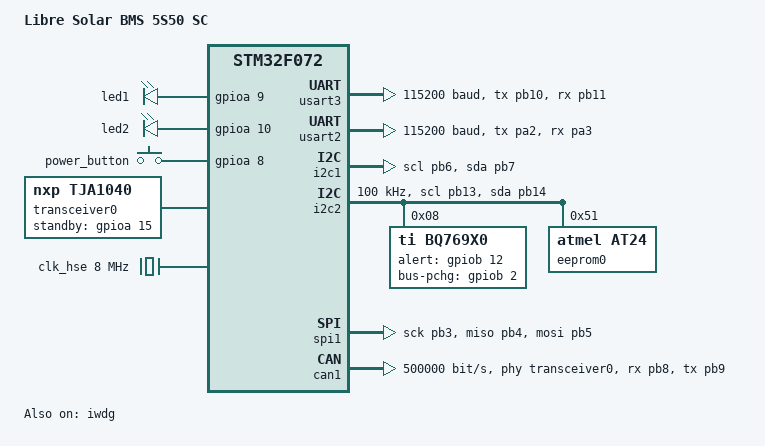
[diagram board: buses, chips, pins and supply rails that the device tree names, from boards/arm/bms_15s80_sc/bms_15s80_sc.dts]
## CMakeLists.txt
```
# Copyright (c) 2021 Nordic Semiconductor ASA
# SPDX-License-Identifier: Apache-2.0
#
# This CMake file is picked by the Zephyr build system because it is defined
# as the module CMake entry point (see zephyr/module.yml).

zephyr_include_directories(include)

add_subdirectory(drivers)
```

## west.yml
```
# SPDX-License-Identifier: Apache-2.0

manifest:
  remotes:
    - name: zephyrproject
      url-base: https://github.com/zephyrproject-rtos
    - name: libresolar
      url-base: https://github.com/LibreSolar
    - name: thingset
      url-base: https://github.com/ThingSet
    - name: throwtheswitch
      url-base: https://github.com/ThrowTheSwitch
  projects:
    - name: zephyr
      remote: zephyrproject
      revision: v4.5-branch
      import:
        name-allowlist:
          - cmsis_6
          - edtt
          - hal_espressif
          - hal_stm32
          - mbedtls
          - mcuboot
          - tf-psa-crypto
          - tinycrypt
          - zcbor
    - name: thingset-zephyr-sdk
      remote: thingset
      revision: d43beb494feaa938655b8768a2f77a943c17c98e
      path: thingset-zephyr-sdk
      import:
        name-allowlist:
          - thingset-node-c
          - zcbor
```

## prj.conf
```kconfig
# direct printf calls to console
CONFIG_STDOUT_CONSOLE=y

CONFIG_HEAP_MEM_POOL_SIZE=16384

CONFIG_GPIO=y
CONFIG_SERIAL=y
CONFIG_I2C=y

# for OLED display
CONFIG_DISPLAY=y
CONFIG_SSD1306=y
#CONFIG_CHARACTER_FRAMEBUFFER=y

CONFIG_LOG=y

CONFIG_CFB_LOG_LEVEL_DBG=y
CONFIG_CHARACTER_FRAMEBUFFER=y

CONFIG_NEWLIB_LIBC_NANO=y
```

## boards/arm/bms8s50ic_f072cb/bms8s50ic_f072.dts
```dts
/*
 * SPDX-License-Identifier: Apache-2.0
 *
 * Copyright (c) 2020 Martin Jäger / Libre Solar
 */

/dts-v1/;
#include <st/f0/stm32f072Xb.dtsi>

/ {
	model = "Libre Solar BMS 8S50 IC";
	compatible = "st,stm32f072";

	chosen {
		zephyr,console = &usart1;
		zephyr,shell-uart = &usart1;
		zephyr,sram = &sram0;
		zephyr,flash = &flash0;
	};

	leds {
		compatible = "gpio-leds";
		led1: led_0 {
			gpios = <&gpiob 14 GPIO_INT_ACTIVE_HIGH>;
			label = "LED 1";
		};
		led2: led_1 {
			gpios = <&gpiob 15 GPIO_INT_ACTIVE_HIGH>;
			label = "LED 2";
		};
		/* TODO: put to GPIOs or similar */
		i2c_pu: pb_2 {
			gpios = <&gpiob 2 GPIO_INT_ACTIVE_HIGH>;
			label = "I2C Pull-Up";
		};
	};

	gpio_keys {
		compatible = "gpio-keys";
		power_button: button {
			label = "Power Button";
			gpios = <&gpioa 8 GPIO_INT_ACTIVE_LOW>;
		};
	};

	aliases {
		led-red = &led1;
		led-green = &led2;
		i2c-pullup = &i2c_pu;
		sw-pwr = &power_button;
	};
};

&usart1 {
	current-speed = <115200>;
	status = "okay";
};

&usart2 {
	current-speed = <115200>;
	status = "okay";
};

&i2c1 {
	status = "okay";

	ssd1306@3c {
		compatible = "solomon,ssd1306fb";
		reg = <0x3c>;
		label = "SSD1306";
		width = <128>;
		height = <64>;
		segment-offset = <0>;
		page-offset = <0>;
		display-offset = <0>;
		multiplex-ratio = <63>;
		segment-remap;
		com-invdir;
		prechargep = <0x22>;
	};
};

&i2c2 {
	status = "okay";
	clock-frequency = <I2C_BITRATE_STANDARD>;
};

&spi1 {
	status = "okay";
};

&iwdg {
	status = "okay";
};

&adc1 {
	status = "okay";
};

&can1 {
	bus-speed = <250000>;
	status = "okay";
};
```

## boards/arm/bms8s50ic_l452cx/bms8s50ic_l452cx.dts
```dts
/*
 * Copyright (c) 2017 Linaro Limited
 *
 * SPDX-License-Identifier: Apache-2.0
 */

/dts-v1/;
#include <st/l4/stm32l452Xc.dtsi>

/ {
	model = "Libre Solar BMS 8S50 IC";
	compatible = "st,stm32l452re-nucleo", "st,stm32l452";

	chosen {
		zephyr,console = &usart1;
		zephyr,shell-uart = &usart1;
		zephyr,sram = &sram0;
		zephyr,flash = &flash0;
	};

	leds {
		compatible = "gpio-leds";
		led1: led_0 {
			gpios = <&gpiob 14 GPIO_INT_ACTIVE_HIGH>;
			label = "LED 1";
		};
		led2: led_1 {
			gpios = <&gpiob 15 GPIO_INT_ACTIVE_HIGH>;
			label = "LED 2";
		};
		/* TODO: put to GPIOs or similar */
		i2c_pu: pb_2 {
			gpios = <&gpiob 2 GPIO_INT_ACTIVE_HIGH>;
			label = "I2C Pull-Up";
		};
	};

	gpio_keys {
		compatible = "gpio-keys";
		power_button: button {
			label = "Power Button";
			gpios = <&gpioa 8 GPIO_INT_ACTIVE_LOW>;
		};
	};

	aliases {
		led-red = &led1;
		led-green = &led2;
		i2c-pullup = &i2c_pu;
		sw-pwr = &power_button;
		i2c-uext = &i2c1;
	};
};

&usart1 {
	current-speed = <115200>;
	status = "okay";
};

&usart2 {
	current-speed = <115200>;
	status = "okay";
};

&i2c1 {
	status = "okay";
};

&i2c2 {
	status = "okay";
	clock-frequency = <I2C_BITRATE_STANDARD>;
};

&spi1 {
	status = "okay";
};

&timers2 {
	status = "okay";

	pwm {
		status = "okay";
	};
};

&can1 {
	bus-speed = <125000>;
	status = "okay";
};

&rtc {
	status = "okay";
};

&flash0 {
	partitions {
		compatible = "fixed-partitions";
		#address-cells = <1>;
		#size-cells = <1>;

		/*
		 * Reserve the final 16 KiB for file system partition
		 */
		storage_partition: partition@3c000 {
			label = "storage";
			reg = <0x0003c000 0x00004000>;
		};
	};
};
```

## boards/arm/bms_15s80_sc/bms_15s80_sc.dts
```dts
/*
 * Copyright (c) The Libre Solar Project Contributors
 *
 * SPDX-License-Identifier: Apache-2.0
 */

/dts-v1/;
#include <st/f0/stm32f072Xb.dtsi>
#include <st/f0/stm32f072c(8-b)tx-pinctrl.dtsi>

/ {
	model = "Libre Solar BMS 5S50 SC";
	compatible = "st,stm32f072";

	pcb {
		compatible = "bms";

		type = "BMS 15S80 SC";
		version-str = "v0.1";
		version-num = <1>;

		/*
		 * Additional information:
		 * - GAIN_PACK_VOLTAGE (105.6/5.6)
		 * - PIN_V_BAT    PA_4
		 * - PIN_V_EXT    PA_5
		 */
	};

	chosen {
		zephyr,console = &usart3;
		zephyr,shell-uart = &usart3;
		zephyr,sram = &sram0;
		zephyr,flash = &flash0;
		thingset,can = &can1;
		thingset,eeprom = &eeprom0;
		thingset,serial = &uext_uart;
	};

	leds {
		compatible = "gpio-leds";
		led1: led_0 {
			gpios = <&gpioa 9 GPIO_ACTIVE_HIGH>;
		};
		led2: led_1 {
			gpios = <&gpioa 10 GPIO_ACTIVE_HIGH>;
		};
	};

	gpio_keys {
		compatible = "gpio-keys";
		power_button: button {
			gpios = <&gpioa 8 GPIO_ACTIVE_HIGH>;
		};
	};

	transceiver0: can-phy0 {
		compatible = "nxp,tja1040", "can-transceiver-gpio";
		max-bitrate = <1000000>;
		standby-gpios = <&gpioa 15 GPIO_ACTIVE_HIGH>;
		#phy-cells = <0>;
	};

	aliases {
		led-red = &led1;
		led-green = &led2;
		sw-pwr = &power_button;
		bms-ic = &bq769x0;
	};

	soc {
		usart3: serial@40004800 {
			compatible = "st,stm32-usart", "st,stm32-uart";
			reg = <0x40004800 0x400>;
			clocks = <&rcc STM32_CLOCK_BUS_APB1 0x00040000>;
			interrupts = <29 0>;
			status = "disabled";
		};
		usart4: serial@40004c00 {
			compatible = "st,stm32-usart", "st,stm32-uart";
			reg = <0x40004c00 0x400>;
			clocks = <&rcc STM32_CLOCK_BUS_APB1 0x00080000>;
			interrupts = <29 0>;
			status = "disabled";
		};
	};
};

&clk_hse {
	clock-frequency = <DT_FREQ_M(8)>;
	status = "okay";
};

&pll {
	clocks = <&clk_hse>;
	prediv = <1>;
	mul = <6>;
	status = "okay";
};

&rcc {
	clocks = <&pll>;
	clock-frequency = <DT_FREQ_M(48)>;
	ahb-prescaler = <1>;
	apb1-prescaler = <1>;
};

uext_uart: &usart2 {
	pinctrl-0 = <&usart2_tx_pa2 &usart2_rx_pa3>;
	pinctrl-names = "default";
	current-speed = <115200>;
	status = "okay";
};

&usart2_rx_pa3 {
	bias-pull-up;	// avoid junk characters if pin is left floating
};

&usart3 {
	pinctrl-0 = <&usart3_tx_pb10 &usart3_rx_pb11>;
	pinctrl-names = "default";
	current-speed = <115200>;
	status = "okay";
};

&usart3_rx_pb11 {
	bias-pull-up;	// avoid junk characters if pin is left floating
};

uext_i2c: &i2c1 {
	pinctrl-0 = <&i2c1_scl_pb6 &i2c1_sda_pb7>;
	pinctrl-names = "default";
	status = "okay";
};

&i2c2 {
	pinctrl-0 = <&i2c2_scl_pb13 &i2c2_sda_pb14>;
	pinctrl-names = "default";
	clock-frequency = <I2C_BITRATE_STANDARD>;
	status = "okay";

	bq769x0: bq769x0@8 {
		compatible = "ti,bq769x0";
		reg = <0x08>;
		alert-gpios = <&gpiob 12 GPIO_ACTIVE_HIGH>;
		bus-pchg-gpios = <&gpiob 2 GPIO_ACTIVE_HIGH>;
		board-max-current = <80>;
		shunt-resistor-uohm = <1500>;
		used-cell-channels = <0x7FFF>;
	};

	eeprom0: eeprom@51 {
		// M24256-BW
		compatible = "atmel,at24";
		reg = <0x51>;	// 1 0 1 0 A2 A1 A0 = 1010001
		size = <32768>;
		pagesize = <64>;
		address-width = <16>;
		timeout = <7>;
	};
};

&spi1 {
	pinctrl-0 = <&spi1_sck_pb3 &spi1_miso_pb4 &spi1_mosi_pb5>;
	pinctrl-names = "default";
	cs-gpios = <&gpioa 1 GPIO_ACTIVE_LOW>;
	status = "okay";
};

&iwdg {
	status = "okay";
};

&can1 {
	pinctrl-0 = <&can_rx_pb8 &can_tx_pb9>;
	pinctrl-names = "default";
	bus-speed = <500000>;
	phys = <&transceiver0>;
	status = "okay";
};
```

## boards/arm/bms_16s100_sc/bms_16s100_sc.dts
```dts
/*
 * Copyright (c) The Libre Solar Project Contributors
 *
 * SPDX-License-Identifier: Apache-2.0
 */

/dts-v1/;
#include <st/g0/stm32g0b1Xe.dtsi>
#include <st/g0/stm32g0b1c(b-c-e)tx-pinctrl.dtsi>

#include <dt-bindings/bms_ic/bq769x2.h>

/ {
	model = "Libre Solar BMS 16S100 IC";
	compatible = "st,stm32g0b1";

	pcb {
		compatible = "bms";

		type = "BMS 16S100 SC";
		version-str = "v0.2";
		version-num = <2>;
	};

	chosen {
		zephyr,console = &usart1;
		zephyr,shell-uart = &usart1;
		zephyr,sram = &sram0;
		zephyr,flash = &flash0;
		zephyr,code-partition = &slot0_partition;
		thingset,can = &fdcan1;
		thingset,serial = &uext_uart;
	};

	leds {
		compatible = "gpio-leds";
		led1: led_0 {
			//gpios = <&gpioa 5 GPIO_ACTIVE_HIGH>;	// Nucleo board
			gpios = <&gpioc 13 GPIO_ACTIVE_HIGH>;	// actual BMS board
		};
		led2: led_1 {
			gpios = <&gpioc 14 GPIO_ACTIVE_HIGH>;
		};
	};

	gpio_keys {
		compatible = "gpio-keys";
		power_button: button {
			gpios = <&gpioa 1 GPIO_ACTIVE_HIGH>;
		};
	};

	transceiver0: can-phy0 {
		compatible = "nxp,tja1042", "can-transceiver-gpio";
		max-bitrate = <1000000>;
		standby-gpios = <&gpiod 2 GPIO_ACTIVE_HIGH>;
		#phy-cells = <0>;
	};

	aliases {
		led-red = &led1;
		led-green = &led2;
		sw-pwr = &power_button;
		bms-ic = &bq76952;
	};
};

&clk_hse {
	clock-frequency = <DT_FREQ_M(8)>;
	status = "okay";
};

&pll {
	div-m = <1>;
	mul-n = <16>;
	div-p = <2>;
	div-q = <2>;
	div-r = <2>;
	clocks = <&clk_hse>;
	status = "okay";
};

&rcc {
	clocks = <&pll>;
	clock-frequency = <DT_FREQ_M(64)>;
	ahb-prescaler = <1>;
	apb1-prescaler = <1>;
};

zephyr_udc0: &usb {
	pinctrl-0 = <&usb_dm_pa11 &usb_dp_pa12>;
	pinctrl-names = "default";
	status = "okay";
};

&usart1 {
	pinctrl-0 = <&usart1_tx_pa9 &usart1_rx_pa10>;
	pinctrl-names = "default";
	current-speed = <115200>;
	status = "okay";
};

&usart1_rx_pa10 {
	bias-pull-up;	// avoid junk characters if pin is left floating
};

uext_uart: &usart2 {
	pinctrl-0 = <&usart2_tx_pa2 &usart2_rx_pa3>;
	pinctrl-names = "default";
	current-speed = <115200>;
	status = "okay";
};

&usart2_rx_pa3 {
	bias-pull-up;	// avoid junk characters if pin is left floating
};

&iwdg {
	status = "okay";
};

uext_i2c: &i2c1 {
	pinctrl-0 = <&i2c1_scl_pb6 &i2c1_sda_pb7>;
	pinctrl-names = "default";
	clock-frequency = <I2C_BITRATE_FAST>;
	status = "okay";
};

&i2c2 {
	pinctrl-0 = <&i2c2_scl_pb13 &i2c2_sda_pb14>;
	pinctrl-names = "default";
	clock-frequency = <I2C_BITRATE_STANDARD>;
	status = "okay";

	bq76952: bq769x2@8 {
		compatible = "ti,bq769x2-i2c";
		reg = <0x08>;
		alert-gpios = <&gpiob 8 GPIO_ACTIVE_HIGH>;
		used-cell-channels = <0xFFFF>;
		/* all NTCs configured with 18k pull-up */
		ts1-pin-config = <0x07>;
		ts3-pin-config = <0x07>;
		dchg-pin-config = <0x07>;
		cell-temp-pins = <BQ769X2_PIN_TS1 BQ769X2_PIN_TS3>;
		fet-temp-pin = <BQ769X2_PIN_DCHG>;
		board-max-current = <100>;
		shunt-resistor-uohm = <300>;
		status = "okay";
	};
};

&spi1 {
	pinctrl-0 = <&spi1_nss_pb0 &spi1_sck_pb3
		     &spi1_miso_pb4 &spi1_mosi_pb5>;
	pinctrl-names = "default";
	status = "okay";
};

&spi2 {
	pinctrl-0 = <&spi2_nss_pb12 &spi2_sck_pb13
		     &spi2_miso_pb14 &spi2_mosi_pb15>;
	pinctrl-names = "default";
	status = "okay";
};

&flash0 {
	partitions {
		compatible = "fixed-partitions";
		#address-cells = <1>;
		#size-cells = <1>;

		boot_partition: partition@0 {
			label = "mcuboot";
			reg = <0x00000000 0x0000C000>;
			read-only;
		};
		slot0_partition: partition@C000 {
			label = "image-0";
			reg = <0x0000C000 0x00032000>;
		};
		slot1_partition: partition@3E000 {
			label = "image-1";
			reg = <0x0003E000 0x00032000>;
		};
		/* final 64KiB reserved for app storage partition */
		storage_partition: partition@70000 {
			label = "storage";
			reg = <0x00070000 0x00010000>;
		};
	};
};

&lptim1 {
	status = "okay";
};

&fdcan1 {
	clocks = <&rcc STM32_CLOCK_BUS_APB1 0x00001000>,
		 <&rcc STM32_SRC_PLL_Q FDCAN_SEL(1)>;
	pinctrl-0 = <&fdcan1_rx_pd0 &fdcan1_tx_pd1>;
	pinctrl-names = "default";
	bus-speed = <500000>;
	bus-speed-data = <500000>;
	sample-point = <875>;
	sample-point-data = <875>;
	phys = <&transceiver0>;
	status = "okay";
};
```

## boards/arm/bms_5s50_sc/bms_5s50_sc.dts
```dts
/*
 * Copyright (c) The Libre Solar Project Contributors
 *
 * SPDX-License-Identifier: Apache-2.0
 */

/dts-v1/;
#include <st/f0/stm32f072Xb.dtsi>
#include <st/f0/stm32f072c(8-b)tx-pinctrl.dtsi>

/ {
	model = "Libre Solar BMS 5S50 SC";
	compatible = "st,stm32f072";

	pcb {
		compatible = "bms";

		type = "BMS 5S50 SC";
		version-str = "v0.1";
		version-num = <1>;

		/*
		 * Additional information:
		 * - GAIN_PACK_VOLTAGE (110/10)
		 * - PIN_V_REF    PA_0
		 * - PIN_V_BAT    PA_4
		 * - PIN_V_EXT    PA_5
		 * - PIN_TEMP_1   PA_6
		 * - PIN_TEMP_2   PA_7
		 */
	};

	chosen {
		zephyr,console = &usart1;
		zephyr,shell-uart = &usart1;
		zephyr,sram = &sram0;
		zephyr,flash = &flash0;
		thingset,can = &can1;
		thingset,eeprom = &eeprom0;
		thingset,serial = &uext_uart;
	};

	leds {
		compatible = "gpio-leds";
		led1: led_0 {
			gpios = <&gpiob 14 GPIO_ACTIVE_HIGH>;
		};
		led2: led_1 {
			gpios = <&gpiob 15 GPIO_ACTIVE_HIGH>;
		};
	};

	gpio_keys {
		compatible = "gpio-keys";
		power_button: button {
			gpios = <&gpioa 8 GPIO_ACTIVE_HIGH>;
		};
	};

	transceiver0: can-phy0 {
		compatible = "nxp,tja1040", "can-transceiver-gpio";
		max-bitrate = <1000000>;
		standby-gpios = <&gpioa 15 GPIO_ACTIVE_HIGH>;
		#phy-cells = <0>;
	};

	aliases {
		led-red = &led1;
		led-green = &led2;
		sw-pwr = &power_button;
		bms-ic = &bq76920;
	};
};

&clk_hse {
	clock-frequency = <DT_FREQ_M(8)>;
	status = "okay";
};

&pll {
	clocks = <&clk_hse>;
	prediv = <1>;
	mul = <6>;
	status = "okay";
};

&rcc {
	clocks = <&pll>;
	clock-frequency = <DT_FREQ_M(48)>;
	ahb-prescaler = <1>;
	apb1-prescaler = <1>;
};

&usart1 {
	pinctrl-0 = <&usart1_tx_pa9 &usart1_rx_pa10>;
	pinctrl-names = "default";
	current-speed = <115200>;
	status = "okay";
};

&usart1_rx_pa10 {
	bias-pull-up;	// avoid junk characters if pin is left floating
};

uext_uart: &usart2 {
	pinctrl-0 = <&usart2_tx_pa2 &usart2_rx_pa3>;
	pinctrl-names = "default";
	current-speed = <115200>;
	status = "okay";
};

&usart2_rx_pa3 {
	bias-pull-up;	// avoid junk characters if pin is left floating
};

uext_i2c: &i2c1 {
	pinctrl-0 = <&i2c1_scl_pb6 &i2c1_sda_pb7>;
	pinctrl-names = "default";
	status = "okay";
};

&i2c2 {
	pinctrl-0 = <&i2c2_scl_pb10 &i2c2_sda_pb11>;
	pinctrl-names = "default";
	clock-frequency = <I2C_BITRATE_STANDARD>;
	status = "okay";

	bq76920: bq769x0@8 {
		compatible = "ti,bq769x0";
		reg = <0x08>;
		alert-gpios = <&gpiob 12 GPIO_ACTIVE_HIGH>;
		bus-pchg-gpios = <&gpiob 2 GPIO_ACTIVE_HIGH>;
		board-max-current = <50>;
		shunt-resistor-uohm = <1000>;
		used-cell-channels = <0x001F>;
	};

	eeprom0: eeprom@50 {
		// Microchip 24AA01
		compatible = "atmel,at24";
		reg = <0x50>;
		size = <1024>;
		pagesize = <8>;
		address-width = <8>;
		/*
		 * timeout of 5 ms as suggested in datasheet seems too optimistic
		 * (several write errors occured during testing)
		 */
		timeout = <7>;
	};
};

&spi1 {
	pinctrl-0 = <&spi1_sck_pb3 &spi1_miso_pb4 &spi1_mosi_pb5>;
	pinctrl-names = "default";
	cs-gpios = <&gpioa 1 GPIO_ACTIVE_LOW>;
	status = "okay";
};

&iwdg {
	status = "okay";
};

&can1 {
	pinctrl-0 = <&can_rx_pb8 &can_tx_pb9>;
	pinctrl-names = "default";
	bus-speed = <500000>;
	phys = <&transceiver0>;
	status = "okay";
};
```

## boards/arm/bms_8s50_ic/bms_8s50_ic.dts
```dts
/*
 * Copyright (c) The Libre Solar Project Contributors
 *
 * SPDX-License-Identifier: Apache-2.0
 */

/dts-v1/;

#include <st/l4/stm32l452Xc.dtsi>
#include <st/l4/stm32l452c(c-e)ux-pinctrl.dtsi>

/ {
	model = "Libre Solar BMS 8S50 IC";
	compatible = "st,stm32l452";

	pcb {
		compatible = "bms";

		type = "BMS 8S50 IC";

		/*
		 * Additional information:
		 * - Has MOSFET temperature sensor
		 * - PIN_V_EXT     PA_5
		 * - PIN_TEMP_1    PA_6
		 * - PIN_TEMP_2    PA_7
		 */
	};

	chosen {
		zephyr,console = &usart1;
		zephyr,shell-uart = &usart1;
		zephyr,sram = &sram0;
		zephyr,flash = &flash0;
		thingset,can = &can1;
		thingset,eeprom = &eeprom0;
		thingset,serial = &uext_uart;
	};

	leds {
		compatible = "gpio-leds";
		led1: led_0 {
			gpios = <&gpiob 14 GPIO_ACTIVE_HIGH>;
		};
		led2: led_1 {
			gpios = <&gpiob 15 GPIO_ACTIVE_HIGH>;
		};
	};

	gpio_keys {
		compatible = "gpio-keys";
		power_button: button {
			gpios = <&gpioa 8 GPIO_ACTIVE_LOW>;
		};
	};

	transceiver0: can-phy0 {
		compatible = "ti,tcan334", "can-transceiver-gpio";
		max-bitrate = <1000000>;
		standby-gpios = <&gpioc 13 GPIO_ACTIVE_HIGH>;
		#phy-cells = <0>;
	};

	aliases {
		led-red = &led1;
		led-green = &led2;
		sw-pwr = &power_button;
		bms-ic = &isl94202;
	};
};

&clk_hsi {
	status = "okay";
};

&pll {
	div-m = <1>;
	mul-n = <20>;
	div-p = <7>;
	div-q = <2>;
	div-r = <4>;
	clocks = <&clk_hsi>;
	status = "okay";
};

&rcc {
	clocks = <&pll>;
	clock-frequency = <DT_FREQ_M(80)>;
	ahb-prescaler = <1>;
	apb1-prescaler = <1>;
	apb2-prescaler = <1>;
};

&usart1 {
	pinctrl-0 = <&usart1_tx_pa9 &usart1_rx_pa10>;
	pinctrl-names = "default";
	current-speed = <115200>;
	status = "okay";
};

&usart1_rx_pa10 {
	bias-pull-up;	// avoid junk characters if pin is left floating
};

uext_uart: &usart2 {
	pinctrl-0 = <&usart2_tx_pa2 &usart2_rx_pa3>;
	pinctrl-names = "default";
	current-speed = <115200>;
	status = "okay";
};

&usart2_rx_pa3 {
	bias-pull-up;	// avoid junk characters if pin is left floating
};

uext_i2c: &i2c1 {
	pinctrl-0 = <&i2c1_scl_pb6 &i2c1_sda_pb7>;
	pinctrl-names = "default";
	status = "okay";
};

&i2c2 {
	pinctrl-0 = <&i2c2_scl_pb10 &i2c2_sda_pb11>;
	pinctrl-names = "default";
	clock-frequency = <I2C_BITRATE_STANDARD>;
	status = "okay";

	isl94202: isl94202@28 {
		compatible = "renesas,isl94202";
		reg = <0x28>;	/* 0x50 >> 1 */
		pull-up-gpios = <&gpiob 2 GPIO_ACTIVE_HIGH>;
		board-max-current = <50>;
		used-cell-channels = <0xFF>;
		status = "okay";
	};

	eeprom0: eeprom@50 {
		// Microchip 24AA32A
		compatible = "atmel,at24";
		reg = <0x50>;
		size = <32768>;
		pagesize = <32>;
		address-width = <16>;
		/*
		 * timeout of 5 ms as suggested in datasheet seems too optimistic
		 * (several write errors occured during testing)
		 */
		timeout = <7>;
	};
};

&spi1 {
	pinctrl-0 = <&spi1_sck_pb3 &spi1_miso_pb4 &spi1_mosi_pb5>;
	pinctrl-names = "default";
	cs-gpios = <&gpioa 15 GPIO_ACTIVE_LOW>;
	status = "okay";
};

&can1 {
	pinctrl-0 = <&can1_rx_pb8 &can1_tx_pb9>;
	pinctrl-names = "default";
	bus-speed = <500000>;
	phys = <&transceiver0>;
	status = "okay";
};

&rng {
	status = "okay";
};

&rtc {
	status = "okay";
};

&flash0 {
	partitions {
		compatible = "fixed-partitions";
		#address-cells = <1>;
		#size-cells = <1>;

		/*
		 * Reserve the final 16 KiB for file system partition
		 */
		storage_partition: partition@3c000 {
			label = "storage";
			reg = <0x0003c000 0x00004000>;
		};
	};
};
```

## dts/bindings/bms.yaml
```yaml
# Copyright (c) The Libre Solar Project Contributors
# SPDX-License-Identifier: Apache-2.0

description: Generic BMS device setup

compatible: "bms"

properties:
    type:
      type: string
      required: true
      description: Device type
    version-str:
      type: string
      required: true
      description: Hardware version number (human-readable)
    version-num:
      type: int
      required: true
      description: Hardware version number (usable in preprocessor defines)
```

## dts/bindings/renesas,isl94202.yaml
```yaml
# Copyright (c) The Libre Solar Project Contributors
# SPDX-License-Identifier: Apache-2.0

description: Intersil/Renesas ISL94202 Standalone 3 to 8 Cell Li-Ion Battery Pack Monitor

compatible: "renesas,isl94202"

include: i2c-device.yaml

properties:
  pull-up-gpios:
    type: phandle-array
    required: false
    description: |
      GPIO to enable/disable the I2C pull-up resistors.
```

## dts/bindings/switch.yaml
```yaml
# Copyright (c) The Libre Solar Project Contributors
# SPDX-License-Identifier: Apache-2.0

description: GPIO pins to switch something on or off

compatible: "switch"

child-binding:
  description: GPIO switch child node
  properties:
    gpios:
      type: phandle-array
      required: true
```

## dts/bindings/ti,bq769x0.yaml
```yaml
# Copyright (c) The Libre Solar Project Contributors
# SPDX-License-Identifier: Apache-2.0

description: Texas Instruments bq769x0 li-ion and li-phosphate battery monitor

compatible: "ti,bq769x0"

include: i2c-device.yaml

properties:
    alert-gpios:
      type: phandle-array
      required: true
      description: Alert interrupt of bq769x0

    pchg-gpios:
      type: phandle-array
      required: false
      description: |
        GPIO to enable/disable the bus pre-charge MOSFET.
```

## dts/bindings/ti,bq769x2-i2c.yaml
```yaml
# Copyright (c) The Libre Solar Project Contributors
# SPDX-License-Identifier: Apache-2.0

description: |
    Texas Instruments BQ769x2 3s to 16s High Accuracy Battery Monitor and
    Protector for Li-Ion, Li-Polymer, and LiFePO4 Battery Packs (SPI)

compatible: "ti,bq769x2-i2c"

include: ["ti,bq769x2-common.yaml", "i2c-device.yaml"]
```

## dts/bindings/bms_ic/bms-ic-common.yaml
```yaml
# Copyright (c) The Libre Solar Project Contributors
# SPDX-License-Identifier: Apache-2.0

description: Intersil/Renesas ISL94202 Standalone 3 to 8 Cell Li-Ion Battery Pack Monitor

properties:
  shunt-resistor-uohm:
    type: int
    description: |
      Shunt resistor value in micro-Ohm.

  board-max-current:
    type: int
    description: |
      Maximum current allowed by the board design in Amperes.
```

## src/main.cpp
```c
/*
 * Copyright (c) The Libre Solar Project Contributors
 *
 * SPDX-License-Identifier: Apache-2.0
 */

#ifndef UNIT_TEST

#include <zephyr.h>
#include <stdio.h>

#include "bms.h"
#include "button.h"
#include "eeprom.h"
#include "leds.h"
#include "thingset.h"
#include "helper.h"
#include "data_objects.h"

BmsConfig bms_conf;
BmsStatus bms_status;
extern ThingSet ts;

void main(void)
{
    printf("Hardware: Libre Solar %s (%s)\n",
        DT_PROP(DT_PATH(pcb), type), DT_PROP(DT_PATH(pcb), version_str));
    printf("Firmware: %s\n", FIRMWARE_VERSION_ID);

    bms_init_hardware();
    bms_init_status(&bms_status);
    bms_init_config(&bms_conf, CONFIG_CELL_TYPE, CONFIG_BAT_CAPACITY_AH);

    // read custom configuration from EEPROM
    data_objects_init();

    bms_apply_cell_ovp(&bms_conf);
    bms_apply_cell_uvp(&bms_conf);

    bms_apply_dis_scp(&bms_conf);
    bms_apply_dis_ocp(&bms_conf);
    bms_apply_chg_ocp(&bms_conf);

    bms_apply_temp_limits(&bms_conf);

    bms_update(&bms_conf, &bms_status);
    bms_soc_reset(&bms_conf, &bms_status, -1);

    button_init();

    int64_t t_start = k_uptime_get();
    while (true) {

        bms_update(&bms_conf, &bms_status);
        bms_state_machine(&bms_conf, &bms_status);

        if (button_pressed_for_3s()) {
            printf("Button pressed for 3s: shutdown...\n");
            bms_shutdown();
            k_sleep(K_MSEC(10000));
        }

        //bms_print_registers();

        eeprom_update();

        t_start += 100;
        k_sleep(K_TIMEOUT_ABS_MS(t_start));
    }
}

#endif /* UNIT_TEST */
```

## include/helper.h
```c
/*
 * Copyright (c) The Libre Solar Project Contributors
 *
 * SPDX-License-Identifier: Apache-2.0
 */

#ifndef HELPER_H
#define HELPER_H

/**
 * @file
 * @brief General helper functions
 */

#include <stdint.h>
#include <string.h>

#ifdef __INTELLISENSE__
/*
 * VS Code intellisense can't cope with all the Zephyr macro layers for logging, so provide it
 * with something more simple and make it silent.
 */

#define LOG_DBG(...) printf(__VA_ARGS__)

#define LOG_INF(...) printf(__VA_ARGS__)

#define LOG_WRN(...) printf(__VA_ARGS__)

#define LOG_ERR(...) printf(__VA_ARGS__)

#define LOG_MODULE_REGISTER(...)

#else

#include <zephyr/logging/log.h>

#endif /* VSCODE_INTELLISENSE_HACK */

#ifdef __cplusplus
extern "C" {
#endif

/**
 * Interpolation in a look-up table. Values of a must be monotonically increasing/decreasing
 *
 * @returns interpolated value of array b at position value_a
 */
float interpolate(const float a[], const float b[], size_t size, float value_a);

/**
 * Convert byte to bit-string
 *
 * Attention: Uses static buffer, not thread-safe
 *
 * @returns pointer to bit-string (8 characters + null-byte)
 */
const char *byte2bitstr(uint8_t b);

/**
 * @brief Check if a buffer is entirely zeroed.
 *
 * @param buf A pointer to the buffer (uint8_t*) to be checked.
 * @param size The size of the buffer in bytes.
 * @returns true if the buffer is entirely zeroed, false if not.
 */
bool is_empty(uint8_t *buf, size_t size);

#ifdef __cplusplus
}
#endif

#endif /* HELPER_H */
```

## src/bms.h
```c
/*
 * Copyright (c) The Libre Solar Project Contributors
 *
 * SPDX-License-Identifier: Apache-2.0
 */

#ifndef BMS_H
#define BMS_H

/** @file
 *
 * @brief
 * Battery Management System (BMS) module for different analog frontends
 */

#include "pcb.h"

#ifdef __cplusplus
extern "C" {
#endif

#include <stdio.h>
#include <time.h>
#include <stdint.h>
#include <stdbool.h>
#include <stddef.h>

/**
 * Possible BMS states
 */
enum BmsState {
    BMS_STATE_OFF,          ///< Off state (charging and discharging disabled)
    BMS_STATE_CHG,          ///< Charging state (discharging disabled)
    BMS_STATE_DIS,          ///< Discharging state (charging disabled)
    BMS_STATE_NORMAL,       ///< Normal operating mode (both charging and discharging enabled)
};

/**
 * Battery cell types
 */
enum CellType {
    CELL_TYPE_CUSTOM = 0,   ///< Custom settings
    CELL_TYPE_LFP,          ///< LiFePO4 Li-ion cells (3.3 V nominal)
    CELL_TYPE_NMC,          ///< NMC/Graphite Li-ion cells (3.7 V nominal)
    CELL_TYPE_NMC_HV,       ///< NMC/Graphite High Voltage Li-ion cells (3.7 V nominal, 4.35 V max)
    CELL_TYPE_LTO           ///< NMC/Titanate (2.4 V nominal)
};

/**
 * BMS configuration values, stored in RAM. The configuration is not automatically applied after
 * values are changed!
 */
typedef struct
{
    /// Effective resistance of the current measurement shunt(s) on the PCB (milli-Ohms)
    float shunt_res_mOhm;

    /// Beta value of the used thermistor. Typical value for Semitec 103AT-5 thermistor: 3435
    uint16_t thermistor_beta;

    /// \brief Pointer to an array containing the Open Circuit Voltage of the cell vs. SOC.
    /// SOC must be equally spaced in descending order (100%, 95%, ..., 5%, 0%)
    float *ocv;
    size_t num_ocv_points;          ///< Number of point in OCV array

    float nominal_capacity_Ah;      ///< Nominal capacity of battery pack (Ah)

    // Current limits
    float dis_sc_limit;             ///< Discharge short circuit limit (A)
    uint32_t dis_sc_delay_us;       ///< Discharge short circuit delay (us)
    float dis_oc_limit;             ///< Discharge over-current limit (A)
    uint32_t dis_oc_delay_ms;       ///< Discharge over-current delay (ms)
    float chg_oc_limit;             ///< Charge over-current limit (A)
    uint32_t chg_oc_delay_ms;       ///< Charge over-current delay (ms)

    // Cell voltage limits
    float cell_chg_voltage;         ///< Cell target charge voltage (V)
    float cell_dis_voltage;         ///< Cell discharge voltage limit (V)
    float cell_ov_limit;            ///< Cell over-voltage limit (V)
    float cell_ov_reset;            ///< Cell over-voltage error reset threshold (V)
    uint32_t cell_ov_delay_ms;      ///< Cell over-voltage delay (ms)
    float cell_uv_limit;            ///< Cell under-voltage limit (V)
    float cell_uv_reset;            ///< Cell under-voltage error reset threshold (V)
    uint32_t cell_uv_delay_ms;      ///< Cell under-voltage delay (ms)

    // Temperature limits (°C)
    float dis_ot_limit;             ///< Discharge over-temperature (DOT) limit (°C)
    float dis_ut_limit;             ///< Discharge under-temperature (DUT) limit (°C)
    float chg_ot_limit;             ///< Charge over-temperature (COT) limit (°C)
    float chg_ut_limit;             ///< Charge under-temperature (CUT) limit (°C)
    float t_limit_hyst;             ///< Temperature limit hysteresis (°C)

    // Balancing settings
    bool auto_balancing_enabled;    ///< Enable automatic balancing
    float bal_cell_voltage_diff;    ///< Balancing cell voltage target difference (V)
    float bal_cell_voltage_min;     ///< Minimum cell voltage to start balancing (V)
    float bal_idle_current;         ///< Current threshold to be considered idle (A)
    uint16_t bal_idle_delay;        ///< Minimum idle duration before balancing (s)
} BmsConfig;

/**
 * Current BMS status including measurements and error flags
 */
typedef struct
{
    uint16_t state;                             ///< Current state of the battery
    bool chg_enable;                            ///< Manual enable/disable setting for charging
    bool dis_enable;                            ///< Manual enable/disable setting for discharging

    uint16_t connected_cells;                   ///< \brief Actual number of cells connected (might
                                                ///< be less than NUM_CELLS_MAX)

    float cell_voltages[NUM_CELLS_MAX];         ///< Single cell voltages (V)
    float cell_voltage_max;                     ///< Maximum cell voltage (V)
    float cell_voltage_min;                     ///< Minimum cell voltage (V)
    float cell_voltage_avg;                     ///< Average cell voltage (V)
    float pack_voltage;                         ///< Battery pack voltage (V)

    float pack_current;                         ///< \brief Battery pack current, charging direction
                                                ///< has positive sign (A)

    float bat_temps[NUM_THERMISTORS_MAX];       ///< Battery temperatures (°C)
    float bat_temp_max;                         ///< Maximum battery temperature (°C)
    float bat_temp_min;                         ///< Minimum battery temperature (°C)
    float bat_temp_avg;                         ///< Average battery temperature (°C)
    float mosfet_temp;                          ///< MOSFET temperature (°C)
    float ic_temp;                              ///< Internal BMS IC temperature (°C)
    float mcu_temp;                             ///< MCU temperature (°C)

    bool full;                                  ///< CV charging to cell_chg_voltage finished
    bool empty;                                 ///< Battery is discharged below cell_dis_voltage

    float soc;                                  ///< Calculated State of Charge (%)

    uint32_t balancing_status;                  ///< holds on/off status of balancing switches
    time_t no_idle_timestamp;                   ///< Stores last time of current > idle threshold

    uint32_t error_flags;                       ///< Bit array for different BmsErrorFlag errors
} BmsStatus;


/**
 * BMS error flags
 */
enum BmsErrorFlag {
    BMS_ERR_CELL_UNDERVOLTAGE = 0,      ///< Cell undervoltage flag
    BMS_ERR_CELL_OVERVOLTAGE = 1,       ///< Cell undervoltage flag
    BMS_ERR_SHORT_CIRCUIT = 2,          ///< Pack short circuit (discharge direction)
    BMS_ERR_DIS_OVERCURRENT = 3,        ///< Pack overcurrent (discharge direction)
    BMS_ERR_CHG_OVERCURRENT = 4,        ///< Pack overcurrent (charge direction)
    BMS_ERR_OPEN_WIRE = 5,              ///< Cell open wire
    BMS_ERR_DIS_UNDERTEMP = 6,          ///< Temperature below discharge minimum limit
    BMS_ERR_DIS_OVERTEMP = 7,           ///< Temperature above discharge maximum limit
    BMS_ERR_CHG_UNDERTEMP = 8,          ///< Temperature below charge maximum limit
    BMS_ERR_CHG_OVERTEMP = 9,           ///< Temperature above charge maximum limit
    BMS_ERR_INT_OVERTEMP = 10,          ///< Internal temperature above limit (e.g. BMS IC)
    BMS_ERR_CELL_FAILURE = 11,          ///< Cell failure (too high voltage difference)
    BMS_ERR_DIS_OFF = 12,               ///< Discharge FET is off even though it should be on
    BMS_ERR_CHG_OFF = 13,               ///< Charge FET is off even though it should be on
    BMS_ERR_FET_OVERTEMP = 14,          ///< MOSFET temperature above limit
};

/**
 * Initialization of BMS incl. setup of communication. This function does not yet set any config.
 */
void bms_init_hardware();

/**
 * Initialization of BmsStatus with suitable default values.
 */
void bms_init_status(BmsStatus *status);

/**
 * Initialization of BmsConfig with typical default values for the given cell type.
 *
 * Type must be defined as int, as enum CellType cannot be set via Kconfig.
 */
void bms_init_config(BmsConfig *conf, int type, float nominal_capacity);

/**
 * Main BMS state machine
 */
void bms_state_machine(BmsConfig *conf, BmsStatus *status);

/**
 * Update measurements and check for errors before calling the state machine
 *
 * Should be called at least once every 250 ms to get correct coulomb counting
 */
void bms_update(BmsConfig *conf, BmsStatus *status);

/**
 * BMS IC start-up delay indicator
 *
 * @returns true if we should wait for the BMS IC to start up
 */
bool bms_startup_inhibit();

/**
 * Shut down BMS IC and entire PCB power supply
 */
void bms_shutdown();

/**
 * Enable/disable charge MOSFET
 */
bool bms_chg_switch(BmsConfig *conf, BmsStatus *status, bool enable);

/**
 * Enable/disable discharge MOSFET
 */
bool bms_dis_switch(BmsConfig *conf, BmsStatus *status, bool enable);

/**
 * Charging error flags check
 *
 * @returns true if any charging error flag is set
 */
bool bms_chg_error(uint32_t error_flags);

/**
 * Discharging error flags check
 *
 * @returns true if any discharging error flag is set
 */
bool bms_dis_error(uint32_t error_flags);

/**
 * Check if charging is allowed
 *
 * @returns true if no charging error flags are set
 */
bool bms_chg_allowed(BmsStatus *status);

/**
 * Check if discharging is allowed
 *
 * @returns true if no discharging error flags are set
 */
bool bms_dis_allowed(BmsStatus *status);

/**
 * Balancing limits check
 *
 * @returns if balancing is allowed
 */
bool bms_balancing_allowed(BmsConfig *conf, BmsStatus *status);

/**
 * Reset SOC to specified value or calculate based on average cell open circuit voltage
 *
 * @param percent 0-100 %, -1 for calculation based on OCV
 */
void bms_soc_reset(BmsConfig *conf, BmsStatus *status, int percent);

/**
 * Update SOC based on most recent current measurement
 *
 * Function should be called each time after a new current measurement was obtained.
 */
void bms_soc_update(BmsConfig *conf, BmsStatus *status);

/**
 * Apply charge/discharge temperature limits.
 *
 * @param conf BMS configuration containing the limit settings
 * @returns 1 for success or 0 in case of error
 */
int bms_apply_temp_limits(BmsConfig *conf);

/**
 * Apply discharge short circuit protection (SCP) current threshold and delay.
 *
 * @param conf BMS configuration containing the limit settings
 * @returns applied current threshold value or 0 in case of error
 */
float bms_apply_dis_scp(BmsConfig *conf);

/**
 * Apply discharge overcurrent protection (OCP) threshold and delay.
 *
 * @param conf BMS configuration containing the limit settings
 * @returns applied current threshold value or 0 in case of error
 */
float bms_apply_dis_ocp(BmsConfig *conf);

/**
 * Apply charge overcurrent protection (OCP) threshold and delay.
 *
 * @param conf BMS configuration containing the limit settings
 * @returns applied current threshold value or 0 in case of error
 */
float bms_apply_chg_ocp(BmsConfig *conf);

/**
 * Apply cell undervoltage protection (UVP) threshold and delay.
 *
 * @param conf BMS configuration containing the limit settings
 * @returns 1 for success or 0 in case of error
 */
int bms_apply_cell_uvp(BmsConfig *conf);

/**
 * Apply cell overvoltage protection (OVP) threshold and delay.
 *
 * @param conf BMS configuration containing the limit settings
 * @returns 1 for success or 0 in case of error
 */
int bms_apply_cell_ovp(BmsConfig *conf);

/**
 * Set balancing registers if balancing is allowed (i.e. sufficient idle time + voltage)
 */
void bms_apply_balancing(BmsConfig *conf, BmsStatus *status);

/**
 * Reads all cell voltages to array cell_voltages[NUM_CELLS], updates battery_voltage and updates
 * ids of cells with min/max voltage
 */
void bms_read_voltages(BmsStatus *status);

/**
 * Reads pack current and updates coloumb counter and SOC
 */
void bms_read_current(BmsConfig *conf, BmsStatus *status);

/**
 * Reads all temperature sensors
 */
void bms_read_temperatures(BmsConfig *conf, BmsStatus *status);

/**
 * Reads error flags from IC or updates them based on measurements
 */
void bms_update_error_flags(BmsConfig *conf, BmsStatus *status);

/**
 * Tries to handle / resolve errors
 */
void bms_handle_errors(BmsConfig *conf, BmsStatus *status);

/**
 * Print passed BMS IC register
 */
void bms_print_register(uint8_t addr);

/**
 * Print all BMS IC registers
 */
void bms_print_registers();

#ifdef __cplusplus
}
#endif

#endif // BMS_H
```

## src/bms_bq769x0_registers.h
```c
/*
    registers.h - Battery management system based on bq769x0 for ARM mbed
    Copyright (C) 2015-2016  Martin Jäger (http://libre.solar)

    This program is free software: you can redistribute it and/or modify
    it under the terms of the GNU Lesser General Public License as
    published by the Free Software Foundation, either version 3 of the
    License, or (at your option) any later version.

    This program is distributed in the hope that it will be useful,
    but WITHOUT ANY WARRANTY; without even the implied warranty of
    MERCHANTABILITY or FITNESS FOR A PARTICULAR PURPOSE.  See the
    GNU Lesser General Public License for more details.

    You should have received a copy of the GNU Lesser General Public
    License along with this program. If not, see
    <http://www.gnu.org/licenses/>.
*/

#include <stdint.h>

// register map
#define SYS_STAT        0x00
#define CELLBAL1        0x01
#define CELLBAL2        0x02
#define CELLBAL3        0x03
#define SYS_CTRL1       0x04
#define SYS_CTRL2       0x05
#define PROTECT1        0x06
#define PROTECT2        0x07
#define PROTECT3        0x08
#define OV_TRIP         0x09
#define UV_TRIP         0x0A
#define CC_CFG          0x0B

#define VC1_HI_BYTE     0x0C
#define VC1_LO_BYTE     0x0D
#define VC2_HI_BYTE     0x0E
#define VC2_LO_BYTE     0x0F
#define VC3_HI_BYTE     0x10
#define VC3_LO_BYTE     0x11
#define VC4_HI_BYTE     0x12
#define VC4_LO_BYTE     0x13
#define VC5_HI_BYTE     0x14
#define VC5_LO_BYTE     0x15
#define VC6_HI_BYTE     0x16
#define VC6_LO_BYTE     0x17
#define VC7_HI_BYTE     0x18
#define VC7_LO_BYTE     0x19
#define VC8_HI_BYTE     0x1A
#define VC8_LO_BYTE     0x1B
#define VC9_HI_BYTE     0x1C
#define VC9_LO_BYTE     0x1D
#define VC10_HI_BYTE    0x1E
#define VC10_LO_BYTE    0x1F
#define VC11_HI_BYTE    0x20
#define VC11_LO_BYTE    0x21
#define VC12_HI_BYTE    0x22
#define VC12_LO_BYTE    0x23
#define VC13_HI_BYTE    0x24
#define VC13_LO_BYTE    0x25
#define VC14_HI_BYTE    0x26
#define VC14_LO_BYTE    0x27
#define VC15_HI_BYTE    0x28
#define VC15_LO_BYTE    0x29

#define BAT_HI_BYTE     0x2A
#define BAT_LO_BYTE     0x2B

#define TS1_HI_BYTE     0x2C
#define TS1_LO_BYTE     0x2D
#define TS2_HI_BYTE     0x2E
#define TS2_LO_BYTE     0x2F
#define TS3_HI_BYTE     0x30
#define TS3_LO_BYTE     0x31

#define CC_HI_BYTE      0x32
#define CC_LO_BYTE      0x33

#define ADCGAIN1        0x50
#define ADCOFFSET       0x51
#define ADCGAIN2        0x59

// function from TI reference design
#define LOW_BYTE(Data)			(uint8_t)(0xff & Data)
#define HIGH_BYTE(Data)			(uint8_t)(0xff & (Data >> 8))

// for bit clear operations of the SYS_STAT register
#define STAT_CC_READY           (0x80)
#define STAT_DEVICE_XREADY      (0x20)
#define STAT_OVRD_ALERT         (0x10)
#define STAT_UV                 (0x08)
#define STAT_OV                 (0x04)
#define STAT_SCD                (0x02)
#define STAT_OCD                (0x01)
#define STAT_FLAGS              (0x3F)

// maps for settings in protection registers
const int SCD_delay_setting [4] =
    { 70, 100, 200, 400 }; // us
const int SCD_threshold_setting [8] =
    { 44, 67, 89, 111, 133, 155, 178, 200 }; // mV

const int OCD_delay_setting [8] =
    { 8, 20, 40, 80, 160, 320, 640, 1280 }; // ms
const int OCD_threshold_setting [16] =
    { 17, 22, 28, 33, 39, 44, 50, 56, 61, 67, 72, 78, 83, 89, 94, 100 };  // mV

const int UV_delay_setting [4] = { 1, 4, 8, 16 };  // s
const int OV_delay_setting [4] = { 1, 2, 4, 8 };   // s

typedef union regSYS_STAT {
    struct {
        uint8_t OCD            :1;
        uint8_t SCD            :1;
        uint8_t OV             :1;
        uint8_t UV             :1;
        uint8_t OVRD_ALERT     :1;
        uint8_t DEVICE_XREADY  :1;
        uint8_t WAKE           :1;
        uint8_t CC_READY       :1;
    } bits;
    uint8_t regByte;
} regSYS_STAT_t;

typedef union regSYS_CTRL1 {
    struct {
        uint8_t SHUT_B        :1;
        uint8_t SHUT_A        :1;
        uint8_t RSVD1         :1;
        uint8_t TEMP_SEL      :1;
        uint8_t ADC_EN        :1;
        uint8_t RSVD2         :2;
        uint8_t LOAD_PRESENT  :1;
    } bits;
    uint8_t regByte;
} regSYS_CTRL1_t;

typedef union regSYS_CTRL2 {
    struct {
        uint8_t CHG_ON      :1;
        uint8_t DSG_ON      :1;
        uint8_t WAKE_T      :2;
        uint8_t WAKE_EN     :1;
        uint8_t CC_ONESHOT  :1;
        uint8_t CC_EN       :1;
        uint8_t DELAY_DIS   :1;
    } bits;
    uint8_t regByte;
} regSYS_CTRL2_t;

typedef union regPROTECT1 {
    struct {
        uint8_t SCD_THRESH      :3;
        uint8_t SCD_DELAY       :2;
        uint8_t RSVD            :2;
        uint8_t RSNS            :1;
    } bits;
    uint8_t regByte;
} regPROTECT1_t;

typedef union regPROTECT2 {
    struct {
        uint8_t OCD_THRESH      :4;
        uint8_t OCD_DELAY       :3;
        uint8_t RSVD            :1;
    } bits;
    uint8_t regByte;
} regPROTECT2_t;

typedef union regPROTECT3 {
    struct {
        uint8_t RSVD            :4;
        uint8_t OV_DELAY        :2;
        uint8_t UV_DELAY        :2;
    } bits;
    uint8_t regByte;
} regPROTECT3_t;

typedef union regCELLBAL {
    struct {
        uint8_t RSVD        :3;
        uint8_t CB5         :1;
        uint8_t CB4         :1;
        uint8_t CB3         :1;
        uint8_t CB2         :1;
        uint8_t CB1         :1;
    } bits;
    uint8_t regByte;
} regCELLBAL_t;

typedef union regVCELL {
    struct {
        uint8_t VC_HI;
        uint8_t VC_LO;
    } bytes;
    uint16_t regWord;
} regVCELL_t;
```

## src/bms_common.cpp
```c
/* Battery management system based on bq769x0 for ARM mbed
 * Copyright (c) 2015-2018 Martin Jäger (www.libre.solar)
 *
 * Licensed under the Apache License, Version 2.0 (the "License");
 * you may not use this file except in compliance with the License.
 * You may obtain a copy of the License at
 *
 *     http://www.apache.org/licenses/LICENSE-2.0
 *
 * Unless required by applicable law or agreed to in writing, software
 * distributed under the License is distributed on an "AS IS" BASIS,
 * WITHOUT WARRANTIES OR CONDITIONS OF ANY KIND, either express or implied.
 * See the License for the specific language governing permissions and
 * limitations under the License.
 */

#include <math.h>     // log for thermistor calculation
#include <stdio.h>

#include "bms.h"

//----------------------------------------------------------------------------

void bms_update(bms_t *bms)
{
    bms_update_current(bms);  // will only read new current value if alert was triggered
    bms_update_voltages(bms);
    bms_update_temperatures(bms);
    bms_update_balancing_switches(bms);
}

//----------------------------------------------------------------------------

void bms_set_shunt_res(bms_t *bms, float res_mOhm)
{
    bms->shunt_res_mOhm = res_mOhm;
}

//----------------------------------------------------------------------------

void bms_set_thermistor_beta(bms_t *bms, int beta_K)
{
    bms->thermistor_beta = beta_K;
}

//----------------------------------------------------------------------------

void bms_set_battery_capacity(bms_t *bms, long capacity_mAh)
{
    bms->nominal_capacity = capacity_mAh * 3600;
}

//----------------------------------------------------------------------------

void bms_set_ocv(bms_t *bms, int *voltage_vs_soc, size_t num_points)
{
    bms->OCV = voltage_vs_soc;
    bms->num_ocv_points = num_points;
}

//----------------------------------------------------------------------------

float bms_get_soc(bms_t *bms)
{
    return (double) bms->coulomb_counter / bms->nominal_capacity * 100;
}

//----------------------------------------------------------------------------

void bms_reset_soc(bms_t *bms, int percent)
{
    if (percent <= 100 && percent >= 0)
    {
        bms->coulomb_counter = bms->nominal_capacity * (percent / 100.0);
    }
    else  // reset based on OCV
    {
        printf("NumCells: %d, voltage: %d V\n", bms_get_connected_cells(bms), bms_pack_voltage(bms));
        int voltage = bms_pack_voltage(bms) / bms_get_connected_cells(bms);

        bms->coulomb_counter = 0;  // initialize with totally depleted battery (0% SOC)

        for (unsigned int i = 0; i < bms->num_ocv_points; i++)
        {
            if (bms->OCV[i] <= voltage) {
                if (i == 0) {
                    bms->coulomb_counter = bms->nominal_capacity;  // 100% full
                }
                else {
                    // interpolate between OCV[i] and OCV[i-1]
                    bms->coulomb_counter = (double) bms->nominal_capacity / (bms->num_ocv_points - 1.0) *
                    (bms->num_ocv_points - 1.0 - i + ((float)voltage - bms->OCV[i])/(bms->OCV[i-1] - bms->OCV[i]));
                }
                return;
            }
        }
    }
}


//----------------------------------------------------------------------------

void bms_set_idle_current_threshold(bms_t *bms, int current_mA)
{
    bms->idle_current_threshold = current_mA;
}

//----------------------------------------------------------------------------

int bms_pack_current(bms_t *bms)
{
    return bms->battery_current;
}

//----------------------------------------------------------------------------

int bms_pack_voltage(bms_t *bms)
{
    return bms->battery_voltage;
}

//----------------------------------------------------------------------------

int bms_cell_voltage_max(bms_t *bms)
{
    return bms->cell_voltages[bms->id_cell_voltage_max];
}

//----------------------------------------------------------------------------

int bms_cell_voltage_min(bms_t *bms)
{
    return bms->cell_voltages[bms->id_cell_voltage_min];
}

//----------------------------------------------------------------------------

int bms_cell_voltage(bms_t *bms, int idCell)
{
    return bms->cell_voltages[idCell-1];
}

//----------------------------------------------------------------------------

int bms_get_connected_cells(bms_t *bms)
{
    return bms->connected_cells;
}

//----------------------------------------------------------------------------

float bms_get_temp_degC(bms_t *bms, int channel)
{
    if (channel >= 1 && channel <= 3) {
        return (float)bms->temperatures[channel-1] / 10.0;
    }
    else {
        return -273.15;   // Error: Return absolute minimum temperature
    }
}

//----------------------------------------------------------------------------

float bms_get_temp_degF(bms_t *bms, int channel)
{
    return bms_get_temp_degC(bms, channel) * 1.8 + 32;
}
```

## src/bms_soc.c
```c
/*
 * Copyright (c) The Libre Solar Project Contributors
 *
 * SPDX-License-Identifier: Apache-2.0
 */

#include "bms.h"
#include "pcb.h"
#include "helper.h"

#include <stdio.h>
#include <math.h>

static const float soc_pct[] = {
    100.0F,  95.0F,  90.0F,  85.0F,  80.0F,  85.0F,  70.0F,  65.0F,  60.0F,  55.0F,  50.0F,
     45.0F,  40.0F,  35.0F,  30.0F,  25.0F,  20.0F,  15.0F,  10.0F,  5.0F,    0.0F
};

void bms_soc_reset(BmsConfig *conf, BmsStatus *status, int percent)
{
    if (percent <= 100 && percent >= 0) {
        status->soc = percent;
    }
    else if (conf->ocv != NULL) {
        status->soc = interpolate(conf->ocv, soc_pct, conf->num_ocv_points,
            status->cell_voltage_avg);
    }
    else {
        // no OCV curve specified, use simplified estimation instead
        float ocv_simple[2] = { conf->cell_chg_voltage, conf->cell_dis_voltage };
        float soc_simple[2] = { 100.0F, 0.0F };
        status->soc = interpolate(ocv_simple, soc_simple, 2, status->cell_voltage_avg);
    }
}

void bms_soc_update(BmsConfig *conf, BmsStatus *status)
{
    static float coulomb_counter_mAs = 0;
    static int64_t last_update = 0;
    int64_t now = k_uptime_get();

    coulomb_counter_mAs += status->pack_current * (now - last_update);
    float soc_delta = coulomb_counter_mAs / (conf->nominal_capacity_Ah * 3.6e4F);

    if (fabs(soc_delta) > 0.1) {
        // only update SoC after significant changes to maintain higher resolution
        float soc_tmp = status->soc + soc_delta;
        status->soc = CLAMP(soc_tmp, 0.0F, 100.0F);
        coulomb_counter_mAs = 0;
    }

    last_update = now;
}
```

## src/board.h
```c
/*
 * Copyright (c) The Libre Solar Project Contributors
 *
 * SPDX-License-Identifier: Apache-2.0
 */

#ifndef BOARD_H_
#define BOARD_H_

#include <zephyr.h>

#define BOARD_NUM_CELLS_MAX             DT_PROP(DT_PATH(pcb), num_cells_max)
#define BOARD_NUM_THERMISTORS_MAX       DT_PROP(DT_PATH(pcb), num_thermistors_max)

#define BOARD_MAX_CURRENT               DT_PROP(DT_PATH(pcb), current_max)
#define BOARD_SHUNT_RESISTOR            (DT_PROP(DT_PATH(pcb), shunt_res) / 1000.0)

#endif // BOARD_H_
```
